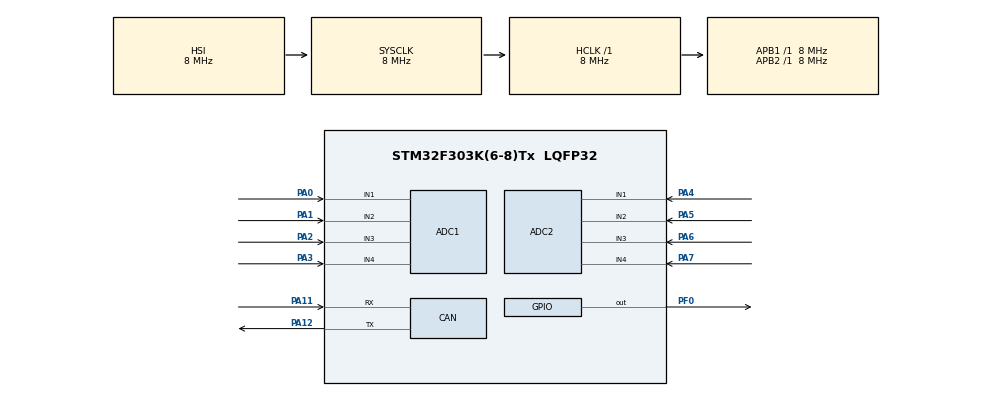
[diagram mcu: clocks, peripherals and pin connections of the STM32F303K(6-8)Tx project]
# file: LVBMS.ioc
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ADC1.Channel-0\#ChannelRegularConversion=ADC_CHANNEL_1
ADC1.Channel-1\#ChannelRegularConversion=ADC_CHANNEL_2
ADC1.Channel-2\#ChannelRegularConversion=ADC_CHANNEL_3
ADC1.Channel-3\#ChannelRegularConversion=ADC_CHANNEL_4
ADC1.ContinuousConvMode=ENABLE
ADC1.NbrOfConversion=4
ADC1.NbrOfConversionFlag=1
ADC1.Offset-0\#ChannelRegularConversion=0
ADC1.Offset-1\#ChannelRegularConversion=0
ADC1.Offset-2\#ChannelRegularConversion=0
ADC1.Offset-3\#ChannelRegularConversion=0
ADC1.OffsetNumber-0\#ChannelRegularConversion=ADC_OFFSET_NONE
ADC1.OffsetNumber-1\#ChannelRegularConversion=ADC_OFFSET_NONE
ADC1.OffsetNumber-2\#ChannelRegularConversion=ADC_OFFSET_NONE
ADC1.OffsetNumber-3\#ChannelRegularConversion=ADC_OFFSET_NONE
ADC1.Rank-0\#ChannelRegularConversion=1
ADC1.Rank-1\#ChannelRegularConversion=2
ADC1.Rank-2\#ChannelRegularConversion=3
ADC1.Rank-3\#ChannelRegularConversion=4
ADC1.SamplingTime-0\#ChannelRegularConversion=ADC_SAMPLETIME_1CYCLE_5
ADC1.SamplingTime-1\#ChannelRegularConversion=ADC_SAMPLETIME_1CYCLE_5
ADC1.SamplingTime-2\#ChannelRegularConversion=ADC_SAMPLETIME_1CYCLE_5
ADC1.SamplingTime-3\#ChannelRegularConversion=ADC_SAMPLETIME_1CYCLE_5
ADC1.SubFamily=STM32F303x8
ADC1.master=1
ADC2.Channel-0\#ChannelRegularConversion=ADC_CHANNEL_1
ADC2.Channel-1\#ChannelRegularConversion=ADC_CHANNEL_2
ADC2.Channel-2\#ChannelRegularConversion=ADC_CHANNEL_3
ADC2.Channel-3\#ChannelRegularConversion=ADC_CHANNEL_4
ADC2.ContinuousConvMode=ENABLE
ADC2.NbrOfConversion=4
ADC2.NbrOfConversionFlag=1
ADC2.Offset-0\#ChannelRegularConversion=0
ADC2.Offset-1\#ChannelRegularConversion=0
ADC2.Offset-2\#ChannelRegularConversion=0
ADC2.Offset-3\#ChannelRegularConversion=0
ADC2.OffsetNumber-0\#ChannelRegularConversion=ADC_OFFSET_NONE
ADC2.OffsetNumber-1\#ChannelRegularConversion=ADC_OFFSET_NONE
ADC2.OffsetNumber-2\#ChannelRegularConversion=ADC_OFFSET_NONE
ADC2.OffsetNumber-3\#ChannelRegularConversion=ADC_OFFSET_NONE
ADC2.Rank-0\#ChannelRegularConversion=1
ADC2.Rank-1\#ChannelRegularConversion=2
ADC2.Rank-2\#ChannelRegularConversion=3
ADC2.Rank-3\#ChannelRegularConversion=4
ADC2.SamplingTime-0\#ChannelRegularConversion=ADC_SAMPLETIME_1CYCLE_5
ADC2.SamplingTime-1\#ChannelRegularConversion=ADC_SAMPLETIME_1CYCLE_5
ADC2.SamplingTime-2\#ChannelRegularConversion=ADC_SAMPLETIME_1CYCLE_5
ADC2.SamplingTime-3\#ChannelRegularConversion=ADC_SAMPLETIME_1CYCLE_5
ADC2.SubFamily=STM32F303x8
CAN.CalculateTimeQuantum=2000.0
Dma.ADC1.0.Direction=DMA_PERIPH_TO_MEMORY
Dma.ADC1.0.Instance=DMA1_Channel1
Dma.ADC1.0.MemDataAlignment=DMA_MDATAALIGN_WORD
Dma.ADC1.0.MemInc=DMA_MINC_ENABLE
Dma.ADC1.0.Mode=DMA_CIRCULAR
Dma.ADC1.0.PeriphDataAlignment=DMA_PDATAALIGN_WORD
Dma.ADC1.0.PeriphInc=DMA_PINC_DISABLE
Dma.ADC1.0.Priority=DMA_PRIORITY_LOW
Dma.ADC2.1.Direction=DMA_PERIPH_TO_MEMORY
Dma.ADC2.1.Instance=DMA1_Channel2
Dma.ADC2.1.MemDataAlignment=DMA_MDATAALIGN_WORD
Dma.ADC2.1.MemInc=DMA_MINC_ENABLE
Dma.ADC2.1.Mode=DMA_CIRCULAR
Dma.ADC2.1.PeriphDataAlignment=DMA_PDATAALIGN_WORD
Dma.ADC2.1.PeriphInc=DMA_PINC_DISABLE
Dma.ADC2.1.Priority=DMA_PRIORITY_LOW
Dma.Request0=ADC1
Dma.Request1=ADC2
Mcu.Family=STM32F3
Mcu.Name=STM32F303K(6-8)Tx
Mcu.Package=LQFP32
NVIC.CAN_RX0_IRQn=true\:0\:0\:false\:false\:true\:true\:true
NVIC.CAN_RX1_IRQn=true\:0\:0\:false\:false\:true\:true\:true
NVIC.DMA1_Channel1_IRQn=true\:0\:0\:false\:false\:true\:false\:true
NVIC.DMA1_Channel2_IRQn=true\:0\:0\:false\:false\:true\:false\:true
NVIC.PriorityGroup=NVIC_PRIORITYGROUP_4
PA0.Mode=IN1-Single-Ended
PA0.Signal=ADC1_IN1
PA1.Mode=IN2-Single-Ended
PA1.Signal=ADC1_IN2
PA11.Mode=Master
PA11.Signal=CAN_RX
PA12.Mode=Master
PA12.Signal=CAN_TX
PA13.Mode=Serial_Wire
PA13.Signal=SYS_JTMS-SWDIO
PA14.Mode=Serial_Wire
PA14.Signal=SYS_JTCK-SWCLK
PA2.Mode=IN3-Single-Ended
PA2.Signal=ADC1_IN3
PA3.Mode=IN4-Single-Ended
PA3.Signal=ADC1_IN4
PA4.Mode=IN1-Single-Ended
PA4.Signal=ADC2_IN1
PA5.Mode=IN2-Single-Ended
PA5.Signal=ADC2_IN2
PA6.Mode=IN3-Single-Ended
PA6.Signal=ADC2_IN3
PA7.Mode=IN4-Single-Ended
PA7.Signal=ADC2_IN4
PF0\ /\ OSC_IN.Signal=GPIO_Output
ProjectManager.HeapSize=0x200
ProjectManager.StackSize=0x400
ProjectManager.TargetToolchain=TrueSTUDIO
RCC.AHBFreq_Value=8000000
RCC.APB1Freq_Value=8000000
RCC.APB1TimFreq_Value=8000000
RCC.APB2Freq_Value=8000000
RCC.APB2TimFreq_Value=8000000
RCC.CortexFreq_Value=8000000
RCC.HCLKFreq_Value=8000000
RCC.HSE_VALUE=8000000
RCC.HSI_VALUE=8000000
RCC.PLLMUL=RCC_PLL_MUL4
RCC.SYSCLKFreq_VALUE=8000000
board=custom

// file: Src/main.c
/* USER CODE BEGIN Header */
/**
  ******************************************************************************
  * @file           : main.c
  * @brief          : Main program body
  ******************************************************************************
  * @attention
  *
  * <h2><center>&copy; Copyright (c) 2020 STMicroelectronics.
  * All rights reserved.</center></h2>
  *
  * This software component is licensed by ST under BSD 3-Clause license,
  * the "License"; You may not use this file except in compliance with the
  * License. You may obtain a copy of the License at:
  *                        opensource.org/licenses/BSD-3-Clause
  *
  ******************************************************************************
  */
/* USER CODE END Header */

#include "main.h"
#include <math.h>

ADC_HandleTypeDef hadc1;
ADC_HandleTypeDef hadc2;
DMA_HandleTypeDef hdma_adc1;
DMA_HandleTypeDef hdma_adc2;

CAN_HandleTypeDef hcan;

/* USER CODE BEGIN PV */
uint32_t ADC1_BUF[4];
uint32_t ADC2_BUF[4];
uint8_t message[8];
double maxTemp = 60; //TODO: should be init
uint8_t minVolt = 0; //TODO: should be CHECK
int counter =0;

/* USER CODE END PV */

void SystemClock_Config(void);
static void MX_GPIO_Init(void);
static void MX_DMA_Init(void);
static void MX_ADC1_Init(void);
static void MX_ADC2_Init(void);
static void MX_CAN_Init(void);
/* USER CODE BEGIN PFP */
void sampToTemp();
void sampToVolt();
void messegeTransmitor();
void tempOutOfBoundsMessage();
void voltOutOfBoundsMessage();
void CAN_Tx(void);

/* USER CODE END PFP */

/* USER CODE BEGIN 0 */
/*
void HAL_ADC_ConvCpltCallback(ADC_HandleTypeDef* hadc){
	uint32_t val1[4];
	uint32_t val2[4];
	if (hadc->Instance == ADC1){
		val1[0] = ADC1_BUF[0];
		val1[1] = ADC1_BUF[1];
		val1[2] = ADC1_BUF[2];
		val1[3] = ADC1_BUF[3];
	}
	else if(hadc->Instance == ADC2){
		val2[0] = ADC2_BUF[0];
		val2[1] = ADC2_BUF[1];
		val2[2] = ADC2_BUF[2];
		val2[3] = ADC2_BUF[3];
	}
}
*/

//Sending a CANBUS Message
void CAN_Tx(void)
{
	CAN_TxHeaderTypeDef TxHeader ;
	uint8_t var1 ,var2 ,var3 ,var4 ,var5 ,var6 ,var7 ,var8 ;
	uint32_t TxMailbox;

// the content of the massage each var is 1 byte
	var1 = message[0];
	var2 = message[1];
	var3 = message[2];
	var4 = message[3];
	var5 = message[4];
	var6 = message[5];
	var7 = message[6];
	var8 = message[7];

	uint8_t Our_Message[8] = {var1,var2,var3,var4,var5,var6,var7,var8};

	TxHeader.DLC = 8;								/*!< Specifies the length of the frame that will be transmitted.
	                             	 	 	 	 	 	     This parameter must be a number between Min_Data = 0 and Max_Data = 8. */

	TxHeader.StdId = 0x80;							/*!< Specifies the standard identifier.
	                          	  	  	  	  	  	  	This parameter must be a number between Min_Data = 0 and Max_Data = 0x7FF. */

	TxHeader.IDE = CAN_ID_STD;						/*!< Specifies the type of identifier for the message that will be transmitted.
	                          	  	  	  	  	  	  	This parameter can be CAN_ID_STD or CAN_ID_EXT */

	TxHeader.RTR = CAN_RTR_DATA;					     /*!< Specifies the type of frame for the message that will be transmitted.
	                          	  	  	  	  	  	  	This parameter can be CAN_RTR_DATA or CAN_RTR_REMOTE */

	if (HAL_CAN_AddTxMessage(&hcan,&TxHeader,Our_Message,&TxMailbox) != HAL_OK)
	{
		Error_Handler();
	}
}

void sampToTemp(){
	double temp;
	for(int i=0;i<4;i++){
		double volt = ((double)ADC1_BUF[i]/4096)*3.3;
		double lanVolt = log(volt);
		temp = -30.66*lanVolt+0.72;
		message[i] = (uint8_t)(temp);
		if(message[i]>=maxTemp){
			//tempOutOfBoundsMessage(); * OFF FOR DEBUG *
		}
	}
}

void sampToVolt(){
	double volt = 0;
	double batteryVolt = 0;
	for(int i=0;i<4;i++){
		volt = ((double)ADC2_BUF[i]/4096)*3.3;
		batteryVolt = volt*6.1; //in the current circuit R=510 but (hens 6.1) but in final.V it will be 6.
		message[i+4] = (uint8_t)batteryVolt*10;
		if(message[i+4]<=minVolt){
			//voltOutOfBoundsMessage(); * OFF FOR DEBUG *
		}
	}
}

void messegeTransmitor(){
	CAN_Tx();
}

void tempOutOfBoundsMessage(){
	// build a specific message[] code and sent it
	for(int i=0; i<8; i++){
		message[i]=(uint8_t)256;
	}
	//send message via CANBUS
	messegeTransmitor();
	////BATTERY CUTOFF (open RELAY)
	HAL_GPIO_WritePin(GPIOF, GPIO_PIN_0, GPIO_PIN_SET);
	//HAL_GPIO_WritePin(GPIOF, GPIO_PIN_0, GPIO_PIN_RESET);
	// battery cut off
	exit(0);
}

void voltOutOfBoundsMessage(){
	// build a specific message[] code and sent it
	for(int i=0; i<8; i++){
			message[i]=0;
		}
	//send message via CANBUS
	messegeTransmitor();
	//BATTERY CUTOFF (open RELAY)
	HAL_GPIO_WritePin(GPIOF, GPIO_PIN_0, GPIO_PIN_SET);
	//HAL_GPIO_WritePin(GPIOF, GPIO_PIN_0, GPIO_PIN_RESET);
	exit(0);
}

/* USER CODE END 0 */

int main(void)
{

  /* MCU Configuration--------------------------------------------------------*/

  /* Reset of all peripherals, Initializes the Flash interface and the Systick. */
  HAL_Init();

  /* Configure the system clock */
  SystemClock_Config();

  /* Initialize all configured peripherals */
  MX_GPIO_Init();
  MX_DMA_Init();
  MX_ADC1_Init();
  MX_ADC2_Init();
  MX_CAN_Init();
  /* USER CODE BEGIN 2 */
HAL_ADC_Start_DMA(&hadc1,(uint32_t*)ADC1_BUF,4);
HAL_ADC_Start_IT(&hadc1);

HAL_ADC_Start_DMA(&hadc2,(uint32_t*)ADC2_BUF,4);
HAL_ADC_Start_IT(&hadc2);
  /* USER CODE END 2 */

  /* Infinite loop */
  /* USER CODE BEGIN WHILE */
  while (1)
  {
	  HAL_ADC_Start_IT(&hadc1);
	  HAL_ADC_Start_IT(&hadc2);
	  sampToTemp();
	  sampToVolt();
	  HAL_Delay(100);
    /* USER CODE END WHILE */

  }
}

void SystemClock_Config(void)
{
  RCC_OscInitTypeDef RCC_OscInitStruct = {0};
  RCC_ClkInitTypeDef RCC_ClkInitStruct = {0};
  RCC_PeriphCLKInitTypeDef PeriphClkInit = {0};

  /** Initializes the CPU, AHB and APB busses clocks
  */
  RCC_OscInitStruct.OscillatorType = RCC_OSCILLATORTYPE_HSI;
  RCC_OscInitStruct.HSIState = RCC_HSI_ON;
  RCC_OscInitStruct.HSICalibrationValue = RCC_HSICALIBRATION_DEFAULT;
  RCC_OscInitStruct.PLL.PLLState = RCC_PLL_ON;
  RCC_OscInitStruct.PLL.PLLSource = RCC_PLLSOURCE_HSI;
  RCC_OscInitStruct.PLL.PLLMUL = RCC_PLL_MUL4;
  if (HAL_RCC_OscConfig(&RCC_OscInitStruct) != HAL_OK)
  {
    Error_Handler();
  }
  /** Initializes the CPU, AHB and APB busses clocks
  */
  RCC_ClkInitStruct.ClockType = RCC_CLOCKTYPE_HCLK|RCC_CLOCKTYPE_SYSCLK
                              |RCC_CLOCKTYPE_PCLK1|RCC_CLOCKTYPE_PCLK2;
  RCC_ClkInitStruct.SYSCLKSource = RCC_SYSCLKSOURCE_HSI;
  RCC_ClkInitStruct.AHBCLKDivider = RCC_SYSCLK_DIV1;
  RCC_ClkInitStruct.APB1CLKDivider = RCC_HCLK_DIV1;
  RCC_ClkInitStruct.APB2CLKDivider = RCC_HCLK_DIV1;

  if (HAL_RCC_ClockConfig(&RCC_ClkInitStruct, FLASH_LATENCY_0) != HAL_OK)
  {
    Error_Handler();
  }
  PeriphClkInit.PeriphClockSelection = RCC_PERIPHCLK_ADC12;
  PeriphClkInit.Adc12ClockSelection = RCC_ADC12PLLCLK_DIV1;
  if (HAL_RCCEx_PeriphCLKConfig(&PeriphClkInit) != HAL_OK)
  {
    Error_Handler();
  }
}

static void MX_ADC1_Init(void)
{

  ADC_MultiModeTypeDef multimode = {0};
  ADC_ChannelConfTypeDef sConfig = {0};

  /** Common config
  */
  hadc1.Instance = ADC1;
  hadc1.Init.ClockPrescaler = ADC_CLOCK_ASYNC_DIV1;
  hadc1.Init.Resolution = ADC_RESOLUTION_12B;
  hadc1.Init.ScanConvMode = ADC_SCAN_ENABLE;
  hadc1.Init.ContinuousConvMode = ENABLE;
  hadc1.Init.DiscontinuousConvMode = DISABLE;
  hadc1.Init.ExternalTrigConvEdge = ADC_EXTERNALTRIGCONVEDGE_NONE;
  hadc1.Init.ExternalTrigConv = ADC_SOFTWARE_START;
  hadc1.Init.DataAlign = ADC_DATAALIGN_RIGHT;
  hadc1.Init.NbrOfConversion = 4;
  hadc1.Init.DMAContinuousRequests = DISABLE;
  hadc1.Init.EOCSelection = ADC_EOC_SINGLE_CONV;
  hadc1.Init.LowPowerAutoWait = DISABLE;
  hadc1.Init.Overrun = ADC_OVR_DATA_OVERWRITTEN;
  if (HAL_ADC_Init(&hadc1) != HAL_OK)
  {
    Error_Handler();
  }
  /** Configure the ADC multi-mode
  */
  multimode.Mode = ADC_MODE_INDEPENDENT;
  if (HAL_ADCEx_MultiModeConfigChannel(&hadc1, &multimode) != HAL_OK)
  {
    Error_Handler();
  }
  /** Configure Regular Channel
  */
  sConfig.Channel = ADC_CHANNEL_1;
  sConfig.Rank = ADC_REGULAR_RANK_1;
  sConfig.SingleDiff = ADC_SINGLE_ENDED;
  sConfig.SamplingTime = ADC_SAMPLETIME_1CYCLE_5;
  sConfig.OffsetNumber = ADC_OFFSET_NONE;
  sConfig.Offset = 0;
  if (HAL_ADC_ConfigChannel(&hadc1, &sConfig) != HAL_OK)
  {
    Error_Handler();
  }
  /** Configure Regular Channel
  */
  sConfig.Channel = ADC_CHANNEL_2;
  sConfig.Rank = ADC_REGULAR_RANK_2;
  if (HAL_ADC_ConfigChannel(&hadc1, &sConfig) != HAL_OK)
  {
    Error_Handler();
  }
  /** Configure Regular Channel
  */
  sConfig.Channel = ADC_CHANNEL_3;
  sConfig.Rank = ADC_REGULAR_RANK_3;
  if (HAL_ADC_ConfigChannel(&hadc1, &sConfig) != HAL_OK)
  {
    Error_Handler();
  }
  /** Configure Regular Channel
  */
  sConfig.Channel = ADC_CHANNEL_4;
  sConfig.Rank = ADC_REGULAR_RANK_4;
  if (HAL_ADC_ConfigChannel(&hadc1, &sConfig) != HAL_OK)
  {
    Error_Handler();
  }

}

static void MX_ADC2_Init(void)
{

  ADC_ChannelConfTypeDef sConfig = {0};

  /** Common config
  */
  hadc2.Instance = ADC2;
  hadc2.Init.ClockPrescaler = ADC_CLOCK_ASYNC_DIV1;
  hadc2.Init.Resolution = ADC_RESOLUTION_12B;
  hadc2.Init.ScanConvMode = ADC_SCAN_ENABLE;
  hadc2.Init.ContinuousConvMode = ENABLE;
  hadc2.Init.DiscontinuousConvMode = DISABLE;
  hadc2.Init.ExternalTrigConvEdge = ADC_EXTERNALTRIGCONVEDGE_NONE;
  hadc2.Init.ExternalTrigConv = ADC_SOFTWARE_START;
  hadc2.Init.DataAlign = ADC_DATAALIGN_RIGHT;
  hadc2.Init.NbrOfConversion = 4;
  hadc2.Init.DMAContinuousRequests = DISABLE;
  hadc2.Init.EOCSelection = ADC_EOC_SINGLE_CONV;
  hadc2.Init.LowPowerAutoWait = DISABLE;
  hadc2.Init.Overrun = ADC_OVR_DATA_OVERWRITTEN;
  if (HAL_ADC_Init(&hadc2) != HAL_OK)
  {
    Error_Handler();
  }
  /** Configure Regular Channel
  */
  sConfig.Channel = ADC_CHANNEL_1;
  sConfig.Rank = ADC_REGULAR_RANK_1;
  sConfig.SingleDiff = ADC_SINGLE_ENDED;
  sConfig.SamplingTime = ADC_SAMPLETIME_1CYCLE_5;
  sConfig.OffsetNumber = ADC_OFFSET_NONE;
  sConfig.Offset = 0;
  if (HAL_ADC_ConfigChannel(&hadc2, &sConfig) != HAL_OK)
  {
    Error_Handler();
  }
  /** Configure Regular Channel
  */
  sConfig.Channel = ADC_CHANNEL_2;
  sConfig.Rank = ADC_REGULAR_RANK_2;
  if (HAL_ADC_ConfigChannel(&hadc2, &sConfig) != HAL_OK)
  {
    Error_Handler();
  }
  /** Configure Regular Channel
  */
  sConfig.Channel = ADC_CHANNEL_3;
  sConfig.Rank = ADC_REGULAR_RANK_3;
  if (HAL_ADC_ConfigChannel(&hadc2, &sConfig) != HAL_OK)
  {
    Error_Handler();
  }
  /** Configure Regular Channel
  */
  sConfig.Channel = ADC_CHANNEL_4;
  sConfig.Rank = ADC_REGULAR_RANK_4;
  if (HAL_ADC_ConfigChannel(&hadc2, &sConfig) != HAL_OK)
  {
    Error_Handler();
  }

}

static void MX_CAN_Init(void)
{

  hcan.Instance = CAN;
  hcan.Init.Prescaler = 16;
  hcan.Init.Mode = CAN_MODE_NORMAL;
  hcan.Init.SyncJumpWidth = CAN_SJW_1TQ;
  hcan.Init.TimeSeg1 = CAN_BS1_1TQ;
  hcan.Init.TimeSeg2 = CAN_BS2_1TQ;
  hcan.Init.TimeTriggeredMode = DISABLE;
  hcan.Init.AutoBusOff = DISABLE;
  hcan.Init.AutoWakeUp = DISABLE;
  hcan.Init.AutoRetransmission = DISABLE;
  hcan.Init.ReceiveFifoLocked = DISABLE;
  hcan.Init.TransmitFifoPriority = DISABLE;
  if (HAL_CAN_Init(&hcan) != HAL_OK)
  {
    Error_Handler();
  }

}

static void MX_DMA_Init(void)
{

  /* DMA controller clock enable */
  __HAL_RCC_DMA1_CLK_ENABLE();

  /* DMA interrupt init */
  /* DMA1_Channel1_IRQn interrupt configuration */
  HAL_NVIC_SetPriority(DMA1_Channel1_IRQn, 0, 0);
  HAL_NVIC_EnableIRQ(DMA1_Channel1_IRQn);
  /* DMA1_Channel2_IRQn interrupt configuration */
  HAL_NVIC_SetPriority(DMA1_Channel2_IRQn, 0, 0);
  HAL_NVIC_EnableIRQ(DMA1_Channel2_IRQn);

}

static void MX_GPIO_Init(void)
{
  GPIO_InitTypeDef GPIO_InitStruct = {0};

  /* GPIO Ports Clock Enable */
  __HAL_RCC_GPIOF_CLK_ENABLE();
  __HAL_RCC_GPIOA_CLK_ENABLE();

  /*Configure GPIO pin Output Level */
  HAL_GPIO_WritePin(GPIOF, GPIO_PIN_0, GPIO_PIN_RESET);

  /*Configure GPIO pin : PF0 */
  GPIO_InitStruct.Pin = GPIO_PIN_0;
  GPIO_InitStruct.Mode = GPIO_MODE_OUTPUT_PP;
  GPIO_InitStruct.Pull = GPIO_NOPULL;
  GPIO_InitStruct.Speed = GPIO_SPEED_FREQ_LOW;
  HAL_GPIO_Init(GPIOF, &GPIO_InitStruct);

}

void Error_Handler(void)
{
}

/************************ (C) COPYRIGHT STMicroelectronics *****END OF FILE****/
